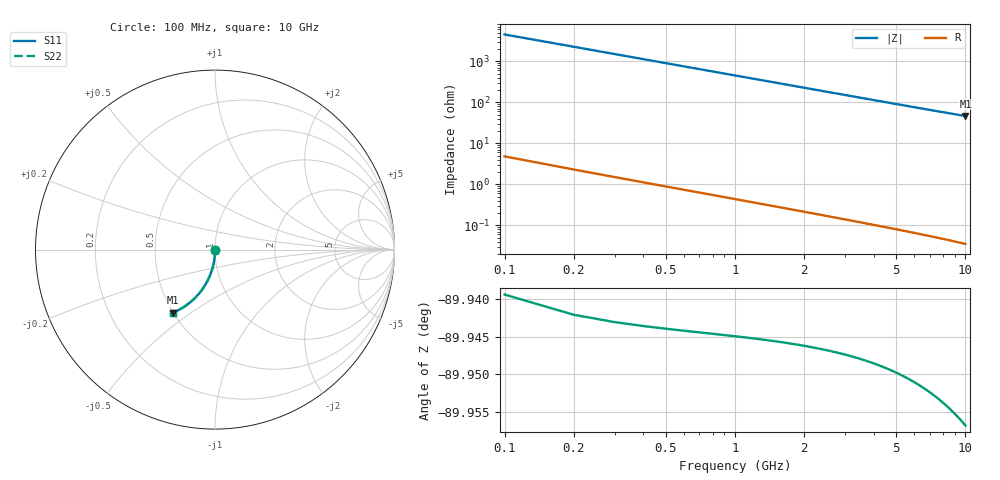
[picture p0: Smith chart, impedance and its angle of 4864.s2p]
# Hz S RI R 50.00
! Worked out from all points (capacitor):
!   100 points, 100 MHz to 10 GHz, reference 50 ohm
!   read as one part in shunt: C = 352 fF near 100 MHz
!   lowest |Z| = 46.3 ohm at 10 GHz (marker M1)
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1e8  0.000391 -0.00478  0.9995 -0.00627  0.9995 -0.00627  0.000391 -0.00478
2e8  0.000298 -0.00956  0.9994 -0.0125  0.9994 -0.0125  0.000298 -0.00956
3e8  0.000145 -0.0143  0.9993 -0.0188  0.9993 -0.0188  0.000145 -0.0143
4e8  -6.83e-05 -0.0191  0.999 -0.0251  0.999 -0.0251  -6.83e-05 -0.0191
5e8  -0.000342 -0.0239  0.9988 -0.0313  0.9988 -0.0313  -0.000342 -0.0239
6e8  -0.000675 -0.0286  0.9984 -0.0376  0.9984 -0.0376  -0.000675 -0.0286
7e8  -0.00107 -0.0334  0.998 -0.0439  0.998 -0.0439  -0.00107 -0.0334
8e8  -0.00152 -0.0382  0.9975 -0.0501  0.9975 -0.0501  -0.00152 -0.0382
9e8  -0.00203 -0.0429  0.997 -0.0563  0.997 -0.0563  -0.00203 -0.0429
1.1e9  -0.00323 -0.0524  0.9957 -0.0688  0.9957 -0.0688  -0.00323 -0.0524
1.4e9  -0.00548 -0.0665  0.9934 -0.0874  0.9934 -0.0874  -0.00548 -0.0665
1.8e9  -0.00928 -0.0851  0.9895 -0.112  0.9895 -0.112  -0.00928 -0.0851
2.1e9  -0.0127 -0.0989  0.9859 -0.1303  0.9859 -0.1303  -0.0127 -0.0989
2.5e9  -0.0181 -0.1171  0.9803 -0.1544  0.9803 -0.1544  -0.0181 -0.1171
2.9e9  -0.0244 -0.1348  0.9738 -0.1782  0.9738 -0.1782  -0.0244 -0.1348
3.4e9  -0.0333 -0.1565  0.9644 -0.2073  0.9644 -0.2073  -0.0333 -0.1565
4.2e9  -0.0502 -0.1895  0.9468 -0.2524  0.9468 -0.2524  -0.0502 -0.1895
5.1e9  -0.0727 -0.224  0.9235 -0.3004  0.9235 -0.3004  -0.0727 -0.224
5.9e9  -0.0952 -0.252  0.8999 -0.3405  0.8999 -0.3405  -0.0952 -0.252
6.7e9  -0.1198 -0.2774  0.8742 -0.378  0.8742 -0.378  -0.1198 -0.2774
8.4e9  -0.1771 -0.3218  0.8138 -0.4483  0.8138 -0.4483  -0.1771 -0.3218
1e10  -0.2349 -0.3517  0.7526 -0.5028  0.7526 -0.5028  -0.2349 -0.3517
